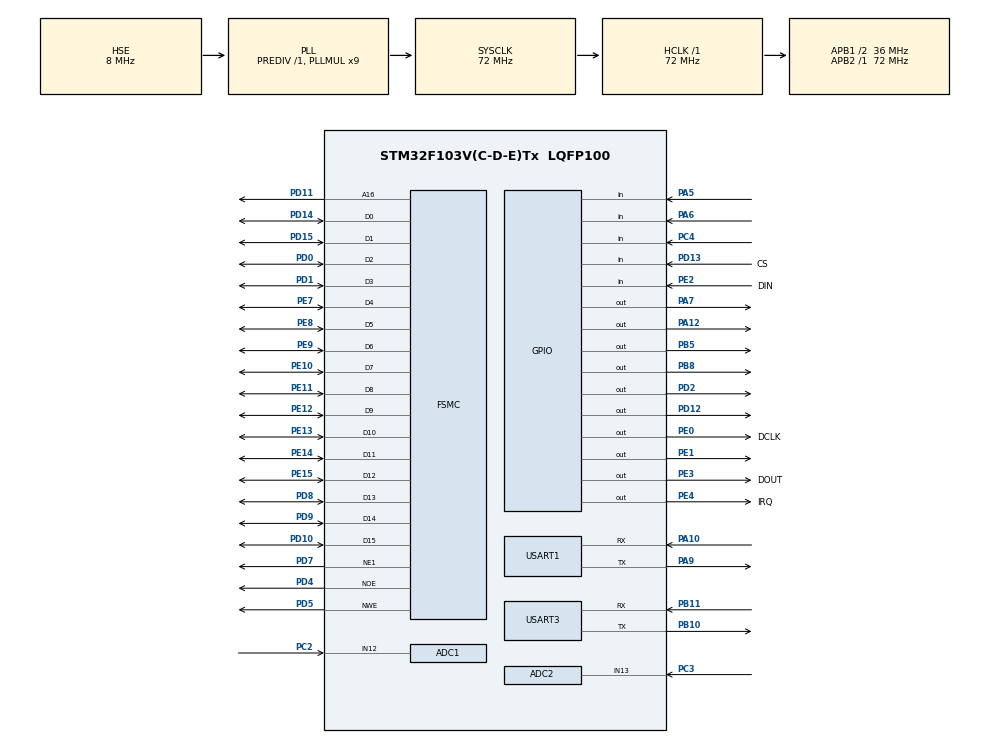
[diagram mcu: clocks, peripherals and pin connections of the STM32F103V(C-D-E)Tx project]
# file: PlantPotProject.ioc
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ADC1.Channel-2\#ChannelRegularConversion=ADC_CHANNEL_12
ADC1.ContinuousConvMode=ENABLE
ADC1.NbrOfConversionFlag=1
ADC1.Rank-2\#ChannelRegularConversion=1
ADC1.SamplingTime-2\#ChannelRegularConversion=ADC_SAMPLETIME_55CYCLES_5
ADC1.master=1
ADC2.Channel-0\#ChannelRegularConversion=ADC_CHANNEL_13
ADC2.ContinuousConvMode=ENABLE
ADC2.NbrOfConversionFlag=1
ADC2.Rank-0\#ChannelRegularConversion=1
ADC2.SamplingTime-0\#ChannelRegularConversion=ADC_SAMPLETIME_55CYCLES_5
FSMC.AddressSetupTime1=1
FSMC.BusTurnAroundDuration1=0
FSMC.DataSetupTime1=5
Mcu.Family=STM32F1
Mcu.Name=STM32F103V(C-D-E)Tx
Mcu.Package=LQFP100
NVIC.PriorityGroup=NVIC_PRIORITYGROUP_4
OSC_IN.Mode=HSE-External-Oscillator
OSC_IN.Signal=RCC_OSC_IN
OSC_OUT.Mode=HSE-External-Oscillator
OSC_OUT.Signal=RCC_OSC_OUT
PA10.Mode=Asynchronous
PA10.Signal=USART1_RX
PA11.Signal=GPXTI11
PA12.Signal=GPIO_Output
PA13.Mode=Serial_Wire
PA13.Signal=SYS_JTMS-SWDIO
PA14.Mode=Serial_Wire
PA14.Signal=SYS_JTCK-SWCLK
PA5.Signal=GPIO_Input
PA6.Signal=GPIO_Input
PA7.GPIO_Speed=GPIO_SPEED_FREQ_HIGH
PA7.PinState=GPIO_PIN_SET
PA7.Signal=GPIO_Output
PA9.Mode=Asynchronous
PA9.Signal=USART1_TX
PB10.Mode=Asynchronous
PB10.Signal=USART3_TX
PB11.Mode=Asynchronous
PB11.Signal=USART3_RX
PB5.GPIO_Speed=GPIO_SPEED_FREQ_HIGH
PB5.PinState=GPIO_PIN_SET
PB5.Signal=GPIO_Output
PB8.GPIO_Speed=GPIO_SPEED_FREQ_HIGH
PB8.PinState=GPIO_PIN_SET
PB8.Signal=GPIO_Output
PC14-OSC32_IN.Mode=LSE-External-Oscillator
PC14-OSC32_IN.Signal=RCC_OSC32_IN
PC15-OSC32_OUT.Mode=LSE-External-Oscillator
PC15-OSC32_OUT.Signal=RCC_OSC32_OUT
PC2.Signal=ADCx_IN12
PC3.Signal=ADCx_IN13
PC4.Signal=GPIO_Input
PD0.Mode=16b-d1
PD0.Signal=FSMC_D2
PD1.Mode=16b-d1
PD1.Signal=FSMC_D3
PD10.Mode=16b-d1
PD10.Signal=FSMC_D15
PD11.Mode=A16_1
PD11.Signal=FSMC_A16
PD12.GPIO_ModeDefaultOutputPP=GPIO_MODE_OUTPUT_PP
PD12.GPIO_PuPd=GPIO_NOPULL
PD12.GPIO_Speed=GPIO_SPEED_FREQ_HIGH
PD12.PinState=GPIO_PIN_RESET
PD12.Signal=GPIO_Output
PD13.GPIO_Label=CS
PD13.Signal=GPIO_Input
PD14.Mode=16b-d1
PD14.Signal=FSMC_D0
PD15.Mode=16b-d1
PD15.Signal=FSMC_D1
PD2.Signal=GPIO_Output
PD4.Mode=Lcd1
PD4.Signal=FSMC_NOE
PD5.Mode=Lcd1
PD5.Signal=FSMC_NWE
PD7.Mode=NorPsramChipSelect1_1
PD7.Signal=FSMC_NE1
PD8.Mode=16b-d1
PD8.Signal=FSMC_D13
PD9.Mode=16b-d1
PD9.Signal=FSMC_D14
PE0.GPIO_Label=DCLK
PE0.GPIO_Speed=GPIO_SPEED_FREQ_HIGH
PE0.Signal=GPIO_Output
PE1.GPIO_ModeDefaultOutputPP=GPIO_MODE_OUTPUT_PP
PE1.GPIO_PuPd=GPIO_NOPULL
PE1.GPIO_Speed=GPIO_SPEED_FREQ_HIGH
PE1.PinState=GPIO_PIN_SET
PE1.Signal=GPIO_Output
PE10.Mode=16b-d1
PE10.Signal=FSMC_D7
PE11.Mode=16b-d1
PE11.Signal=FSMC_D8
PE12.Mode=16b-d1
PE12.Signal=FSMC_D9
PE13.Mode=16b-d1
PE13.Signal=FSMC_D10
PE14.Mode=16b-d1
PE14.Signal=FSMC_D11
PE15.Mode=16b-d1
PE15.Signal=FSMC_D12
PE2.GPIO_Label=DIN
PE2.Signal=GPIO_Input
PE3.GPIO_Label=DOUT
PE3.GPIO_Speed=GPIO_SPEED_FREQ_HIGH
PE3.Signal=GPIO_Output
PE4.GPIO_Label=IRQ
PE4.GPIO_Speed=GPIO_SPEED_FREQ_HIGH
PE4.Signal=GPIO_Output
PE7.Mode=16b-d1
PE7.Signal=FSMC_D4
PE8.Mode=16b-d1
PE8.Signal=FSMC_D5
PE9.Mode=16b-d1
PE9.Signal=FSMC_D6
ProjectManager.HeapSize=0x200
ProjectManager.StackSize=0x400
ProjectManager.TargetToolchain=STM32CubeIDE
RCC.ADCPresc=RCC_ADCPCLK2_DIV6
RCC.AHBFreq_Value=72000000
RCC.APB1CLKDivider=RCC_HCLK_DIV2
RCC.APB1Freq_Value=36000000
RCC.APB1TimFreq_Value=72000000
RCC.APB2Freq_Value=72000000
RCC.APB2TimFreq_Value=72000000
RCC.HCLKFreq_Value=72000000
RCC.PLLMUL=RCC_PLL_MUL9
RCC.PLLSourceVirtual=RCC_PLLSOURCE_HSE
RCC.SYSCLKFreq_VALUE=72000000
RCC.SYSCLKSource=RCC_SYSCLKSOURCE_PLLCLK
RCC.USBFreq_Value=72000000
SH.ADCx_IN12.0=ADC1_IN12,IN12
SH.ADCx_IN13.0=ADC2_IN13,IN13
TIM1.Prescaler=71
USART1.VirtualMode=VM_ASYNC
USART3.VirtualMode=VM_ASYNC
VP_TIM1_VS_ClockSourceINT.Mode=Internal
board=custom

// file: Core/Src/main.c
/* USER CODE BEGIN Header */
/**
 ******************************************************************************
 * @file           : main.c
 * @brief          : Main program body
 ******************************************************************************
 * @attention
 *
 * Copyright (c) 2023 STMicroelectronics.
 * All rights reserved.
 *
 * This software is licensed under terms that can be found in the LICENSE file
 * in the root directory of this software component.
 * If no LICENSE file comes with this software, it is provided AS-IS.
 *
 ******************************************************************************
 */
/* USER CODE END Header */
#include "main.h"

/* USER CODE BEGIN Includes */
#include <stdio.h>
#include <string.h>
#include <stdarg.h>

#include "ili9341.h"
#include "hx711.h"
#include "mk_dht11.h"
//#include "bsp_esp8266.h"
/* USER CODE END Includes */

/* USER CODE BEGIN PD */
//#define min(a,b) (((a)<(b))?(a):(b))
/* USER CODE END PD */

ADC_HandleTypeDef hadc1;
ADC_HandleTypeDef hadc2;

TIM_HandleTypeDef htim1;

UART_HandleTypeDef huart1;
UART_HandleTypeDef huart3;

SRAM_HandleTypeDef hsram1;

void SystemClock_Config(void);
static void MX_GPIO_Init(void);
static void MX_ADC1_Init(void);
static void MX_FSMC_Init(void);
static void MX_TIM1_Init(void);
static void MX_USART1_UART_Init(void);
static void MX_USART3_UART_Init(void);
static void MX_ADC2_Init(void);
/* USER CODE BEGIN PFP */
void start_animation();
void drawImage();
void LCD_DrawString(uint16_t usC, uint16_t usP, const char *pStr);
void getSoilMoisture();
void drawLines(uint16_t color);
void printToScreen(unsigned short x, unsigned short y, const char *fmt, ...);
void init_weight();
float measure_weight(hx711_t hx711);
void displayWeight(hx711_t loadcell);
void displayHumidityTemperature();
void microDelay(uint16_t delay);
uint8_t DHT11_Start(void);
uint8_t DHT11_Read(void);
int table_lamp(void);
void peashooterAnimation();
//void wifi(void);
/* USER CODE END PFP */

/* USER CODE BEGIN 0 */
uint8_t RHI, RHD, TCI, TCD, SUM;
uint32_t pMillis, cMillis;
float tCelsius = 0;
float tFahrenheit = 0;
float RH = 0;
uint8_t count = 0;
uint8_t count_second = 0;
uint8_t count2 = 0;
uint8_t count2_second = 0;
/* USER CODE END 0 */

int main(void) {

	/* MCU Configuration--------------------------------------------------------*/

	/* Reset of all peripherals, Initializes the Flash interface and the Systick. */
	HAL_Init();

	/* Configure the system clock */
	SystemClock_Config();

	/* Initialize all configured peripherals */
	MX_GPIO_Init();
	MX_ADC1_Init();
	MX_FSMC_Init();
	MX_TIM1_Init();
	MX_USART1_UART_Init();
	MX_USART3_UART_Init();
	MX_ADC2_Init();
	/* USER CODE BEGIN 2 */

	// soil moisture sensor setting
	HAL_ADCEx_Calibration_Start(&hadc1);
	HAL_ADCEx_Calibration_Start(&hadc2);
	HAL_ADC_Start(&hadc1);
	HAL_ADC_PollForConversion(&hadc1, 1000);
	HAL_ADC_Start(&hadc2);
	HAL_ADC_PollForConversion(&hadc2, 1000);

	// wifi setting
//	USART_Config();
//	ESP8266_Init();

// weight sensor setting
	hx711_t loadcell;
//	init_weight(&loadcell);

// DHT11 Temperature and Humidity setting
	HAL_TIM_Base_Start(&htim1);
	dht11_t dht;
	init_dht11(&dht, &htim1, GPIOC, GPIO_PIN_4);
	HAL_Delay(1500);

// lcd setting
	LCD_BL_ON();
	lcdInit();
	lcdSetOrientation(1);
	lcdSetTextFont(&Font16);
	//	lcdSetCursor(0, lcdGetHeight() - lcdGetTextFont()->Height - 1);
	lcdSetTextColor(COLOR_WHITE, COLOR_PEASHOOT_GREEN);

	// start
	start_animation();

	lcdSetCursor(0, lcdGetHeight() / 2);
//	lcdPrintf("Temperature: \r\n");
//	lcdPrintf("Weight: \r\n");
//	lcdPrintf("Soil Moisture: \r\n");
	/* USER CODE END 2 */

	/* Infinite loop */
	while (1) {

		/* USER CODE BEGIN 3 */
//		wifi();
		peashooterAnimation();
		getSoilMoisture();
		displayWeight(loadcell);
		displayHumidityTemperature();
//		table_lamp();
		if (table_lamp() == 1 && count == 0) {
			//light up
			HAL_GPIO_WritePin(GPIOA, GPIO_PIN_12, GPIO_PIN_SET);  // Turn on LED
			count += 1;
			count_second = count % 72000000;
		} else if (count != 0 && count_second < 5) {
			//check motion signal
			HAL_GPIO_WritePin(GPIOA, GPIO_PIN_12, GPIO_PIN_SET);  // Turn on LED
			count += 1;
			count_second = count % 72000000;
		}
		if (count_second >= 5) {
			count = 0;
			count_second = 0;

		}
		if (HAL_GPIO_ReadPin(GPIOA, GPIO_PIN_6) == 0){
			HAL_GPIO_WritePin(GPIOA, GPIO_PIN_12, GPIO_PIN_RESET); // Turn off LED
		}

		lcdSetCursor(0, 0);
		lcdPrintf("%d   \r\n", count);
//		lcdPrintf("%d   \r\n", count_second);
//		if (count_second >= 5){
//			HAL_GPIO_WritePin(GPIOA, GPIO_PIN_12, GPIO_PIN_RESET);
//			count_second = 0;
//		}

//	    if (table_lamp() == 1 && count == 0) {
//	        // Light up
//	        HAL_GPIO_WritePin(GPIOA, GPIO_PIN_12, GPIO_PIN_SET); // Turn on LED
//			count += 1;
//	    } else if (table_lamp() == 0 && count == 1) {
//	        // Turn off
//	        HAL_GPIO_WritePin(GPIOA, GPIO_PIN_12, GPIO_PIN_RESET); // Turn off LED
//	        count = 0;
//	    }
	}
}

//void wifi(){
//	   printf( "\r\n正在配置 ESP8266 ......\r\n" );
//	   printf( "\r\n使能 ESP8266 ......\r\n" );
//	   macESP8266_CH_ENABLE();
//	   while( ! ESP8266_AT_Test() );
//
//	   printf( "\r\n正在配置工作模式 STA ......\r\n" );
//	   while( ! ESP8266_Net_Mode_Choose ( STA ) );
//
//	   printf( "\r\n正在连接 WiFi ......\r\n" );
//	   while( ! ESP8266_JoinAP ( "ThisIsAGoodWifi", "68686868" ) );
//
////	   printf( "\r\n禁止多连接 ......\r\n" );
////	   while( ! ESP8266_Enable_MultipleId ( DISABLE ) );
//
////	   printf( "\r\n正在连接 Server ......\r\n" );
////	   while( !  ESP8266_Link_Server ( enumTCP, macUser_ESP8266_TcpServer_IP, macUser_ESP8266_TcpServer_Port, Single_ID_0 ) );
////
////	   printf( "\r\n进入透传发送模式 ......\r\n" );
////	   while( ! ESP8266_UnvarnishSend () );
//
//	   printf( "\r\n配置 ESP8266 完毕\r\n" );
//	   printf ( "\r\n开始透传......\r\n" );
//}

void peashooterAnimation() {
	drawImage(peashooter_000_logo);
	HAL_Delay(100);
	drawImage(peashooter_001_logo);
	HAL_Delay(100);
	drawImage(peashooter_002_logo);
	HAL_Delay(100);
	drawImage(peashooter_003_logo);
	HAL_Delay(100);
	drawImage(peashooter_004_logo);
//	drawImage(peashooter_005_logo);
}

int table_lamp() {
	int light_value;
	int pin;
	light_value = HAL_ADC_GetValue(&hadc2);
	lcdPrintf("Light: %d \r\n", light_value);
	pin = HAL_GPIO_ReadPin(GPIOA, GPIO_PIN_6);
	lcdPrintf("Motion: %d\r\n", pin);
	if (light_value > 2000) {
		if (HAL_GPIO_ReadPin(GPIOA, GPIO_PIN_6) == 1) { // motion sensor
			return 1;
//			HAL_GPIO_WritePin(GPIOA, GPIO_PIN_12, GPIO_PIN_SET);
//			HAL_Delay(3000);
		} else {
			return 0;
//			HAL_GPIO_WritePin(GPIOA, GPIO_PIN_12, GPIO_PIN_RESET);
		}
	} else {
		return 0;
//		HAL_GPIO_WritePin(GPIOA, GPIO_PIN_12, GPIO_PIN_RESET);
	}
}

void displayHumidityTemperature() {

	if (DHT11_Start()) {
		RHI = DHT11_Read(); // Relative humidity integral
		RHD = DHT11_Read(); // Relative humidity decimal
		TCI = DHT11_Read(); // Celsius integral
		TCD = DHT11_Read(); // Celsius decimal
		SUM = DHT11_Read(); // Check sum
		// Can use RHI and TCI for any purposes if whole number only needed
		tCelsius = (float) TCI + (float) (TCD / 10.0);
		tFahrenheit = tCelsius * 9 / 5 + 32;
		RH = (float) RHI + (float) (RHD / 10.0);
		// Can use tCelsius, tFahrenheit and RH for any purposes
		lcdPrintf("Temperature: %.1f \r\n", tCelsius);
		lcdPrintf("Humidity:    %.1f \r\n", RH);
	}
//	lcdPrintf("Temperature: %.1f C\r\n", 23.4);
//	lcdPrintf("Humidity:    %.1f%%\r\n", 40.2);
}

void microDelay(uint16_t delay) {
	__HAL_TIM_SET_COUNTER(&htim1, 0);
	while (__HAL_TIM_GET_COUNTER(&htim1) < delay)
		;
}

uint8_t DHT11_Start(void) {
	uint8_t Response = 0;
	GPIO_InitTypeDef GPIO_InitStructPrivate = { 0 };
	GPIO_InitStructPrivate.Pin = GPIO_PIN_4;
	GPIO_InitStructPrivate.Mode = GPIO_MODE_OUTPUT_PP;
	GPIO_InitStructPrivate.Speed = GPIO_SPEED_FREQ_LOW;
	GPIO_InitStructPrivate.Pull = GPIO_NOPULL;
	HAL_GPIO_Init(GPIOC, &GPIO_InitStructPrivate); // set the pin as output
	HAL_GPIO_WritePin(GPIOC, GPIO_PIN_4, 0);   // pull the pin low
	HAL_Delay(20);   // wait for 20ms
	HAL_GPIO_WritePin(GPIOC, GPIO_PIN_4, 1);   // pull the pin high
	microDelay(30);   // wait for 30us
	GPIO_InitStructPrivate.Mode = GPIO_MODE_INPUT;
	GPIO_InitStructPrivate.Pull = GPIO_PULLUP;
	HAL_GPIO_Init(GPIOC, &GPIO_InitStructPrivate); // set the pin as input
	microDelay(40);
	if (!(HAL_GPIO_ReadPin(GPIOC, GPIO_PIN_4))) {
		microDelay(80);
		if ((HAL_GPIO_ReadPin(GPIOC, GPIO_PIN_4)))
			Response = 1;
	}
	pMillis = HAL_GetTick();
	cMillis = HAL_GetTick();
	while ((HAL_GPIO_ReadPin(GPIOC, GPIO_PIN_4)) && pMillis + 2 > cMillis) {
		cMillis = HAL_GetTick();
	}
	return Response;
}

uint8_t DHT11_Read(void) {
	uint8_t a, b;
	for (a = 0; a < 8; a++) {
		pMillis = HAL_GetTick();
		cMillis = HAL_GetTick();
		while (!(HAL_GPIO_ReadPin(GPIOC, GPIO_PIN_4)) && pMillis + 2 > cMillis) { // wait for the pin to go high
			cMillis = HAL_GetTick();
		}
		microDelay(40);   // wait for 40 us
		if (!(HAL_GPIO_ReadPin(GPIOC, GPIO_PIN_4))) // if the pin is low
			b &= ~(1 << (7 - a));
		else
			b |= (1 << (7 - a));
		pMillis = HAL_GetTick();
		cMillis = HAL_GetTick();
		while ((HAL_GPIO_ReadPin(GPIOC, GPIO_PIN_4)) && pMillis + 2 > cMillis) { // wait for the pin to go low
			cMillis = HAL_GetTick();
		}
	}
	return b;
}

void displayWeight(hx711_t loadcell) {
	char weightStr[10];
//	float weight = measure_weight(loadcell);
//	snprintf(weightStr, 10, "%.2f", weight);
//	strcat(weightStr, " g   ");
//	lcdPrintf("Weight: %s \r\n", weightStr);
	lcdPrintf("Weight: %s \r\n", "512.00 g");
}

void init_weight(hx711_t *hx711) {

	/* Initialize the hx711 sensors */
	hx711_init(hx711, GPIOB, GPIO_PIN_6, GPIOB, GPIO_PIN_7);

	/* Configure gain for each channel (see datasheet for details) */
	set_gain(hx711, 128, 32);

	/* Set HX711 scaling factor (see README for procedure) */
	set_scale(hx711, 420, 1);

	/* Tare weight */
	tare_all(hx711, 10);
}

float measure_weight(hx711_t hx711) {
	long weightA = 0;
	long weightB = 0;

	// Measure the weight for channel A
	weightA = get_weight(&hx711, 10, CHANNEL_A);
	// Weight cannot be negative
	weightA = (weightA < 0) ? 0 : weightA;

	// Measure the weight for channel B
	weightB = get_weight(&hx711, 10, CHANNEL_B);
	// Weight cannot be negative
	weightB = (weightB < 0) ? 0 : weightB;

	return weightA;
}

void start_animation() {
	drawLines(COLOR_PEASHOOT_GREEN);
	HAL_Delay(200);
	lcdFillRGB(COLOR_PEASHOOT_GREEN);
}

void getSoilMoisture() {
	const int AirValue = 4096;
	const int WaterValue = 2900;
	int intervals = (AirValue - WaterValue) / 3;
	int soilMoistureValue = 0;
	int moisturePercentage = 0;

	soilMoistureValue = HAL_ADC_GetValue(&hadc1);
//	soilMoistureValue = 3000;

	// Calculate moisture percentage
	if (soilMoistureValue <= WaterValue) {
		moisturePercentage = 100;
	} else if (soilMoistureValue >= AirValue) {
		moisturePercentage = 0;
	} else {
		moisturePercentage = 100
				- ((soilMoistureValue - WaterValue) * 100)
						/ (AirValue - WaterValue);
	}

	lcdSetCursor(0, lcdGetHeight() / 2);
	lcdPrintf("Soil Moisture: %d%%", moisturePercentage);
	HAL_Delay(200);
//	if (moisturePercentage == 0){
//		lcdPrintf("  Dry     \r\n");
//	}else if (moisturePercentage == 100){
//		lcdPrintf("  Very wet\r\n");
//	}
	if (soilMoistureValue > WaterValue
			&& soilMoistureValue < (WaterValue + intervals)) {
		lcdPrintf("  Very wet\r\n");
	} else if (soilMoistureValue > (WaterValue + intervals)
			&& soilMoistureValue < (AirValue - intervals)) {
		lcdPrintf("  Wet     \r\n");
	} else if (soilMoistureValue < AirValue
			&& soilMoistureValue > (AirValue - intervals)) {
		lcdPrintf("  Dry     \r\n");
	}
}

void printToScreen(unsigned short x, unsigned short y, const char *fmt, ...) {
	va_list args;
	va_start(args, fmt);
	lcdSetCursor(x, y);
	lcdPrintf(fmt, args);
	va_end(args);
}

void drawLines(uint16_t color) {
	unsigned long start, t;
	int x1, y1, x2, y2, w = lcdGetWidth(), h = lcdGetHeight();

	lcdFillRGB(COLOR_BLACK);

	x1 = y1 = 0;
	y2 = h - 1;
	start = HAL_GetTick();
	for (x2 = 0; x2 < w; x2 += 6)
		lcdDrawLine(x1, y1, x2, y2, color);
	x2 = w - 1;
	for (y2 = 0; y2 < h; y2 += 6)
		lcdDrawLine(x1, y1, x2, y2, color);
	t = HAL_GetTick() - start; // fillScreen doesn't count against timing

	HAL_Delay(1000);
	lcdFillRGB(COLOR_BLACK);

	x1 = w - 1;
	y1 = 0;
	y2 = h - 1;

	start = HAL_GetTick();

	for (x2 = 0; x2 < w; x2 += 6)
		lcdDrawLine(x1, y1, x2, y2, color);
	x2 = 0;
	for (y2 = 0; y2 < h; y2 += 6)
		lcdDrawLine(x1, y1, x2, y2, color);
	t += HAL_GetTick() - start;

	HAL_Delay(1000);

//  return t += HAL_GetTick() - start;
}

void drawImage(const GUI_BITMAP logo) {

	if (lcdGetOrientation() == LCD_ORIENTATION_LANDSCAPE
			|| lcdGetOrientation() == LCD_ORIENTATION_LANDSCAPE_MIRROR) {
		lcdDrawImage((lcdGetWidth() - logo.xSize) / 2, 0, &logo);
	} else {
		lcdDrawImage(0, (lcdGetHeight() - logo.ySize) / 2, &logo);
	}

	/* USER CODE END 3 */
}

void SystemClock_Config(void) {
	RCC_OscInitTypeDef RCC_OscInitStruct = { 0 };
	RCC_ClkInitTypeDef RCC_ClkInitStruct = { 0 };
	RCC_PeriphCLKInitTypeDef PeriphClkInit = { 0 };

	/** Initializes the RCC Oscillators according to the specified parameters
	 * in the RCC_OscInitTypeDef structure.
	 */
	RCC_OscInitStruct.OscillatorType = RCC_OSCILLATORTYPE_HSE;
	RCC_OscInitStruct.HSEState = RCC_HSE_ON;
	RCC_OscInitStruct.HSEPredivValue = RCC_HSE_PREDIV_DIV1;
	RCC_OscInitStruct.HSIState = RCC_HSI_ON;
	RCC_OscInitStruct.PLL.PLLState = RCC_PLL_ON;
	RCC_OscInitStruct.PLL.PLLSource = RCC_PLLSOURCE_HSE;
	RCC_OscInitStruct.PLL.PLLMUL = RCC_PLL_MUL9;
	if (HAL_RCC_OscConfig(&RCC_OscInitStruct) != HAL_OK) {
		Error_Handler();
	}

	/** Initializes the CPU, AHB and APB buses clocks
	 */
	RCC_ClkInitStruct.ClockType = RCC_CLOCKTYPE_HCLK | RCC_CLOCKTYPE_SYSCLK
			| RCC_CLOCKTYPE_PCLK1 | RCC_CLOCKTYPE_PCLK2;
	RCC_ClkInitStruct.SYSCLKSource = RCC_SYSCLKSOURCE_PLLCLK;
	RCC_ClkInitStruct.AHBCLKDivider = RCC_SYSCLK_DIV1;
	RCC_ClkInitStruct.APB1CLKDivider = RCC_HCLK_DIV2;
	RCC_ClkInitStruct.APB2CLKDivider = RCC_HCLK_DIV1;

	if (HAL_RCC_ClockConfig(&RCC_ClkInitStruct, FLASH_LATENCY_2) != HAL_OK) {
		Error_Handler();
	}
	PeriphClkInit.PeriphClockSelection = RCC_PERIPHCLK_ADC;
	PeriphClkInit.AdcClockSelection = RCC_ADCPCLK2_DIV6;
	if (HAL_RCCEx_PeriphCLKConfig(&PeriphClkInit) != HAL_OK) {
		Error_Handler();
	}
}

static void MX_ADC1_Init(void) {

	ADC_ChannelConfTypeDef sConfig = { 0 };

	/** Common config
	 */
	hadc1.Instance = ADC1;
	hadc1.Init.ScanConvMode = ADC_SCAN_DISABLE;
	hadc1.Init.ContinuousConvMode = ENABLE;
	hadc1.Init.DiscontinuousConvMode = DISABLE;
	hadc1.Init.ExternalTrigConv = ADC_SOFTWARE_START;
	hadc1.Init.DataAlign = ADC_DATAALIGN_RIGHT;
	hadc1.Init.NbrOfConversion = 1;
	if (HAL_ADC_Init(&hadc1) != HAL_OK) {
		Error_Handler();
	}

	/** Configure Regular Channel
	 */
	sConfig.Channel = ADC_CHANNEL_12;
	sConfig.Rank = ADC_REGULAR_RANK_1;
	sConfig.SamplingTime = ADC_SAMPLETIME_55CYCLES_5;
	if (HAL_ADC_ConfigChannel(&hadc1, &sConfig) != HAL_OK) {
		Error_Handler();
	}

}

static void MX_ADC2_Init(void) {

	ADC_ChannelConfTypeDef sConfig = { 0 };

	/** Common config
	 */
	hadc2.Instance = ADC2;
	hadc2.Init.ScanConvMode = ADC_SCAN_DISABLE;
	hadc2.Init.ContinuousConvMode = ENABLE;
	hadc2.Init.DiscontinuousConvMode = DISABLE;
	hadc2.Init.ExternalTrigConv = ADC_SOFTWARE_START;
	hadc2.Init.DataAlign = ADC_DATAALIGN_RIGHT;
	hadc2.Init.NbrOfConversion = 1;
	if (HAL_ADC_Init(&hadc2) != HAL_OK) {
		Error_Handler();
	}

	/** Configure Regular Channel
	 */
	sConfig.Channel = ADC_CHANNEL_13;
	sConfig.Rank = ADC_REGULAR_RANK_1;
	sConfig.SamplingTime = ADC_SAMPLETIME_55CYCLES_5;
	if (HAL_ADC_ConfigChannel(&hadc2, &sConfig) != HAL_OK) {
		Error_Handler();
	}

}

static void MX_TIM1_Init(void) {

	TIM_ClockConfigTypeDef sClockSourceConfig = { 0 };
	TIM_MasterConfigTypeDef sMasterConfig = { 0 };

	htim1.Instance = TIM1;
	htim1.Init.Prescaler = 71;
	htim1.Init.CounterMode = TIM_COUNTERMODE_UP;
	htim1.Init.Period = 65535;
	htim1.Init.ClockDivision = TIM_CLOCKDIVISION_DIV1;
	htim1.Init.RepetitionCounter = 0;
	htim1.Init.AutoReloadPreload = TIM_AUTORELOAD_PRELOAD_DISABLE;
	if (HAL_TIM_Base_Init(&htim1) != HAL_OK) {
		Error_Handler();
	}
	sClockSourceConfig.ClockSource = TIM_CLOCKSOURCE_INTERNAL;
	if (HAL_TIM_ConfigClockSource(&htim1, &sClockSourceConfig) != HAL_OK) {
		Error_Handler();
	}
	sMasterConfig.MasterOutputTrigger = TIM_TRGO_RESET;
	sMasterConfig.MasterSlaveMode = TIM_MASTERSLAVEMODE_DISABLE;
	if (HAL_TIMEx_MasterConfigSynchronization(&htim1, &sMasterConfig)
			!= HAL_OK) {
		Error_Handler();
	}

}

static void MX_USART1_UART_Init(void) {

	huart1.Instance = USART1;
	huart1.Init.BaudRate = 115200;
	huart1.Init.WordLength = UART_WORDLENGTH_8B;
	huart1.Init.StopBits = UART_STOPBITS_1;
	huart1.Init.Parity = UART_PARITY_NONE;
	huart1.Init.Mode = UART_MODE_TX_RX;
	huart1.Init.HwFlowCtl = UART_HWCONTROL_NONE;
	huart1.Init.OverSampling = UART_OVERSAMPLING_16;
	if (HAL_UART_Init(&huart1) != HAL_OK) {
		Error_Handler();
	}

}

static void MX_USART3_UART_Init(void) {

	huart3.Instance = USART3;
	huart3.Init.BaudRate = 115200;
	huart3.Init.WordLength = UART_WORDLENGTH_8B;
	huart3.Init.StopBits = UART_STOPBITS_1;
	huart3.Init.Parity = UART_PARITY_NONE;
	huart3.Init.Mode = UART_MODE_TX_RX;
	huart3.Init.HwFlowCtl = UART_HWCONTROL_NONE;
	huart3.Init.OverSampling = UART_OVERSAMPLING_16;
	if (HAL_UART_Init(&huart3) != HAL_OK) {
		Error_Handler();
	}

}

static void MX_GPIO_Init(void) {
	GPIO_InitTypeDef GPIO_InitStruct = { 0 };

	/* GPIO Ports Clock Enable */
	__HAL_RCC_GPIOE_CLK_ENABLE();
	__HAL_RCC_GPIOC_CLK_ENABLE();
	__HAL_RCC_GPIOA_CLK_ENABLE();
	__HAL_RCC_GPIOB_CLK_ENABLE();
	__HAL_RCC_GPIOD_CLK_ENABLE();

	/*Configure GPIO pin Output Level */
	HAL_GPIO_WritePin(GPIOE, DOUT_Pin | IRQ_Pin | DCLK_Pin, GPIO_PIN_RESET);

	/*Configure GPIO pin Output Level */
	HAL_GPIO_WritePin(GPIOA, GPIO_PIN_7, GPIO_PIN_SET);

	/*Configure GPIO pin Output Level */
	HAL_GPIO_WritePin(GPIOD, GPIO_PIN_12 | GPIO_PIN_2, GPIO_PIN_RESET);

	/*Configure GPIO pin Output Level */
	HAL_GPIO_WritePin(GPIOA, GPIO_PIN_12, GPIO_PIN_RESET);

	/*Configure GPIO pin Output Level */
	HAL_GPIO_WritePin(GPIOB, GPIO_PIN_5 | GPIO_PIN_8, GPIO_PIN_SET);

	/*Configure GPIO pin Output Level */
	HAL_GPIO_WritePin(GPIOE, GPIO_PIN_1, GPIO_PIN_SET);

	/*Configure GPIO pin : DIN_Pin */
	GPIO_InitStruct.Pin = DIN_Pin;
	GPIO_InitStruct.Mode = GPIO_MODE_INPUT;
	GPIO_InitStruct.Pull = GPIO_NOPULL;
	HAL_GPIO_Init(DIN_GPIO_Port, &GPIO_InitStruct);

	/*Configure GPIO pins : DOUT_Pin IRQ_Pin DCLK_Pin PE1 */
	GPIO_InitStruct.Pin = DOUT_Pin | IRQ_Pin | DCLK_Pin | GPIO_PIN_1;
	GPIO_InitStruct.Mode = GPIO_MODE_OUTPUT_PP;
	GPIO_InitStruct.Pull = GPIO_NOPULL;
	GPIO_InitStruct.Speed = GPIO_SPEED_FREQ_HIGH;
	HAL_GPIO_Init(GPIOE, &GPIO_InitStruct);

	/*Configure GPIO pins : PA5 PA6 */
	GPIO_InitStruct.Pin = GPIO_PIN_5 | GPIO_PIN_6;
	GPIO_InitStruct.Mode = GPIO_MODE_INPUT;
	GPIO_InitStruct.Pull = GPIO_NOPULL;
	HAL_GPIO_Init(GPIOA, &GPIO_InitStruct);

	/*Configure GPIO pin : PA7 */
	GPIO_InitStruct.Pin = GPIO_PIN_7;
	GPIO_InitStruct.Mode = GPIO_MODE_OUTPUT_PP;
	GPIO_InitStruct.Pull = GPIO_NOPULL;
	GPIO_InitStruct.Speed = GPIO_SPEED_FREQ_HIGH;
	HAL_GPIO_Init(GPIOA, &GPIO_InitStruct);

	/*Configure GPIO pin : PC4 */
	GPIO_InitStruct.Pin = GPIO_PIN_4;
	GPIO_InitStruct.Mode = GPIO_MODE_INPUT;
	GPIO_InitStruct.Pull = GPIO_NOPULL;
	HAL_GPIO_Init(GPIOC, &GPIO_InitStruct);

	/*Configure GPIO pin : PD12 */
	GPIO_InitStruct.Pin = GPIO_PIN_12;
	GPIO_InitStruct.Mode = GPIO_MODE_OUTPUT_PP;
	GPIO_InitStruct.Pull = GPIO_NOPULL;
	GPIO_InitStruct.Speed = GPIO_SPEED_FREQ_HIGH;
	HAL_GPIO_Init(GPIOD, &GPIO_InitStruct);

	/*Configure GPIO pin : CS_Pin */
	GPIO_InitStruct.Pin = CS_Pin;
	GPIO_InitStruct.Mode = GPIO_MODE_INPUT;
	GPIO_InitStruct.Pull = GPIO_NOPULL;
	HAL_GPIO_Init(CS_GPIO_Port, &GPIO_InitStruct);

	/*Configure GPIO pin : PA11 */
	GPIO_InitStruct.Pin = GPIO_PIN_11;
	GPIO_InitStruct.Mode = GPIO_MODE_IT_RISING;
	GPIO_InitStruct.Pull = GPIO_NOPULL;
	HAL_GPIO_Init(GPIOA, &GPIO_InitStruct);

	/*Configure GPIO pin : PA12 */
	GPIO_InitStruct.Pin = GPIO_PIN_12;
	GPIO_InitStruct.Mode = GPIO_MODE_OUTPUT_PP;
	GPIO_InitStruct.Pull = GPIO_NOPULL;
	GPIO_InitStruct.Speed = GPIO_SPEED_FREQ_LOW;
	HAL_GPIO_Init(GPIOA, &GPIO_InitStruct);

	/*Configure GPIO pin : PD2 */
	GPIO_InitStruct.Pin = GPIO_PIN_2;
	GPIO_InitStruct.Mode = GPIO_MODE_OUTPUT_PP;
	GPIO_InitStruct.Pull = GPIO_NOPULL;
	GPIO_InitStruct.Speed = GPIO_SPEED_FREQ_LOW;
	HAL_GPIO_Init(GPIOD, &GPIO_InitStruct);

	/*Configure GPIO pins : PB5 PB8 */
	GPIO_InitStruct.Pin = GPIO_PIN_5 | GPIO_PIN_8;
	GPIO_InitStruct.Mode = GPIO_MODE_OUTPUT_PP;
	GPIO_InitStruct.Pull = GPIO_NOPULL;
	GPIO_InitStruct.Speed = GPIO_SPEED_FREQ_HIGH;
	HAL_GPIO_Init(GPIOB, &GPIO_InitStruct);

}

/* FSMC initialization function */
static void MX_FSMC_Init(void) {

	FSMC_NORSRAM_TimingTypeDef Timing = { 0 };

	/** Perform the SRAM1 memory initialization sequence
	 */
	hsram1.Instance = FSMC_NORSRAM_DEVICE;
	hsram1.Extended = FSMC_NORSRAM_EXTENDED_DEVICE;
	/* hsram1.Init */
	hsram1.Init.NSBank = FSMC_NORSRAM_BANK1;
	hsram1.Init.DataAddressMux = FSMC_DATA_ADDRESS_MUX_DISABLE;
	hsram1.Init.MemoryType = FSMC_MEMORY_TYPE_SRAM;
	hsram1.Init.MemoryDataWidth = FSMC_NORSRAM_MEM_BUS_WIDTH_16;
	hsram1.Init.BurstAccessMode = FSMC_BURST_ACCESS_MODE_DISABLE;
	hsram1.Init.WaitSignalPolarity = FSMC_WAIT_SIGNAL_POLARITY_LOW;
	hsram1.Init.WrapMode = FSMC_WRAP_MODE_DISABLE;
	hsram1.Init.WaitSignalActive = FSMC_WAIT_TIMING_BEFORE_WS;
	hsram1.Init.WriteOperation = FSMC_WRITE_OPERATION_ENABLE;
	hsram1.Init.WaitSignal = FSMC_WAIT_SIGNAL_DISABLE;
	hsram1.Init.ExtendedMode = FSMC_EXTENDED_MODE_DISABLE;
	hsram1.Init.AsynchronousWait = FSMC_ASYNCHRONOUS_WAIT_DISABLE;
	hsram1.Init.WriteBurst = FSMC_WRITE_BURST_DISABLE;
	/* Timing */
	Timing.AddressSetupTime = 1;
	Timing.AddressHoldTime = 15;
	Timing.DataSetupTime = 5;
	Timing.BusTurnAroundDuration = 0;
	Timing.CLKDivision = 16;
	Timing.DataLatency = 17;
	Timing.AccessMode = FSMC_ACCESS_MODE_A;
	/* ExtTiming */

	if (HAL_SRAM_Init(&hsram1, &Timing, NULL) != HAL_OK) {
		Error_Handler();
	}

	/** Disconnect NADV
	 */

	__HAL_AFIO_FSMCNADV_DISCONNECTED();

}

void Error_Handler(void) {
	__disable_irq();
	while (1) {
	}
}
